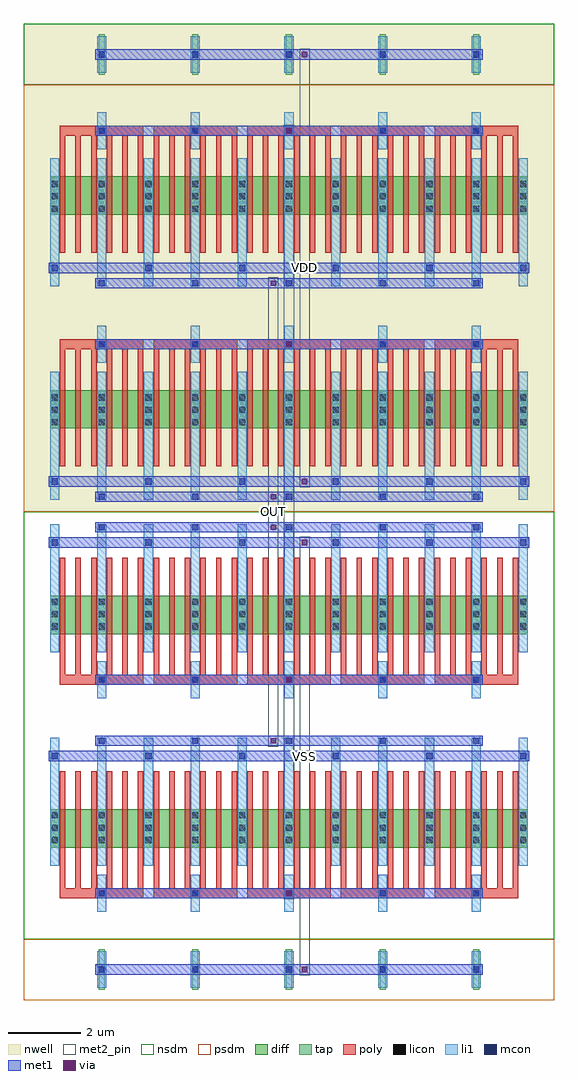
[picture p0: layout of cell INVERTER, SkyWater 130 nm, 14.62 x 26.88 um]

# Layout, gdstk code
import gdstk
lib = gdstk.Library(unit=1e-6, precision=1e-09)
def R(c, l, rs):  # rectangles x0, y0, x1, y1
    for r in rs: c.add(gdstk.rectangle(r[:2], r[2:], *l))
def A(c, l, x, y, w, h, nx, ny, dx, dy):  # array of equal rectangles
    R(c, l, [(x+i*dx, y+j*dy, x+i*dx+w, y+j*dy+h) for i in range(nx) for j in range(ny)])
nwell = (64, 20)
diff = (65, 20)
tap = (65, 44)
poly = (66, 20)
licon = (66, 44)
li1 = (67, 20)
mcon = (67, 44)
met1 = (68, 20)
via = (68, 44)
met2_pin = (69, 16)
nsdm = (93, 44)
psdm = (94, 20)

inverter = lib.new_cell('INVERTER')
R(inverter, nwell, [(0,13.44,14.62,26.88)])
R(inverter, diff, [(0.735,4.2,13.885,5.25), (0.735,10.08,13.885,11.13), (0.735,15.75,13.885,16.8), (0.735,21.63,13.885,22.68)])
A(inverter, tap, 2.065, 0.28, 0.17, 1.12, 5, 2, 2.58, 25.2)
A(inverter, poly, 1, 2.805, 2.3, 0.27, 5, 2, 2.58, 5.88)
A(inverter, poly, 1, 2.94, 0.15, 3.36, 30, 4, 0.43, 5.88)
A(inverter, poly, 1, 17.925, 2.3, 0.27, 5, 2, 2.58, 5.88)
A(inverter, licon, 2.065, 2.855, 0.17, 0.17, 5, 2, 2.58, 5.88)
A(inverter, licon, 0.775, 4.32, 0.17, 0.17, 3, 3, 1.29, 0.34)
A(inverter, licon, 3.355, 4.32, 0.17, 0.17, 3, 3, 1.29, 0.34)
A(inverter, licon, 5.935, 4.32, 0.17, 0.17, 3, 3, 1.29, 0.34)
A(inverter, licon, 8.515, 4.32, 0.17, 0.17, 3, 3, 1.29, 0.34)
A(inverter, licon, 11.095, 4.32, 0.17, 0.17, 3, 3, 1.29, 0.34)
A(inverter, licon, 0.775, 10.2, 0.17, 0.17, 3, 3, 1.29, 0.34)
A(inverter, licon, 3.355, 10.2, 0.17, 0.17, 3, 3, 1.29, 0.34)
A(inverter, licon, 5.935, 10.2, 0.17, 0.17, 3, 3, 1.29, 0.34)
A(inverter, licon, 8.515, 10.2, 0.17, 0.17, 3, 3, 1.29, 0.34)
A(inverter, licon, 11.095, 10.2, 0.17, 0.17, 3, 3, 1.29, 0.34)
A(inverter, licon, 0.775, 15.83, 0.17, 0.17, 3, 3, 1.29, 0.34)
A(inverter, licon, 3.355, 15.83, 0.17, 0.17, 3, 3, 1.29, 0.34)
A(inverter, licon, 5.935, 15.83, 0.17, 0.17, 3, 3, 1.29, 0.34)
A(inverter, licon, 8.515, 15.83, 0.17, 0.17, 3, 3, 1.29, 0.34)
A(inverter, licon, 11.095, 15.83, 0.17, 0.17, 3, 3, 1.29, 0.34)
A(inverter, licon, 2.065, 17.975, 0.17, 0.17, 5, 2, 2.58, 5.88)
A(inverter, licon, 0.775, 21.71, 0.17, 0.17, 3, 3, 1.29, 0.34)
A(inverter, licon, 3.355, 21.71, 0.17, 0.17, 3, 3, 1.29, 0.34)
A(inverter, licon, 5.935, 21.71, 0.17, 0.17, 3, 3, 1.29, 0.34)
A(inverter, licon, 8.515, 21.71, 0.17, 0.17, 3, 3, 1.29, 0.34)
A(inverter, licon, 11.095, 21.71, 0.17, 0.17, 3, 3, 1.29, 0.34)
R(inverter, licon, [(2.065,0.755,2.235,0.925), (2.065,0.755,2.235,0.925), (4.645,0.755,4.815,0.925), (4.645,0.755,4.815,0.925), (7.225,0.755,7.395,0.925), (7.225,0.755,7.395,0.925), (9.805,0.755,9.975,0.925), (9.805,0.755,9.975,0.925), (12.385,0.755,12.555,0.925), (12.385,0.755,12.555,0.925), (2.065,25.955,2.235,26.125), (2.065,25.955,2.235,26.125), (4.645,25.955,4.815,26.125), (4.645,25.955,4.815,26.125), (7.225,25.955,7.395,26.125), (7.225,25.955,7.395,26.125), (9.805,25.955,9.975,26.125), (9.805,25.955,9.975,26.125), (12.385,25.955,12.555,26.125), (12.385,25.955,12.555,26.125)])
A(inverter, li1, 2.025, 0.335, 0.25, 1.01, 5, 2, 2.58, 2.1)
A(inverter, li1, 0.735, 3.695, 0.25, 3.53, 11, 2, 1.29, 5.88)
A(inverter, li1, 2.025, 8.315, 0.25, 1.01, 5, 2, 2.58, 9.24)
A(inverter, li1, 0.735, 13.775, 0.25, 3.53, 11, 2, 1.29, 5.88)
A(inverter, li1, 2.025, 23.435, 0.25, 1.01, 5, 2, 2.58, 2.1)
A(inverter, mcon, 2.065, 0.755, 0.17, 0.17, 5, 2, 2.58, 2.1)
A(inverter, mcon, 0.775, 6.635, 0.17, 0.17, 6, 2, 2.58, 5.88)
A(inverter, mcon, 2.065, 7.055, 0.17, 0.17, 5, 2, 2.58, 1.68)
A(inverter, mcon, 2.065, 12.935, 0.17, 0.17, 5, 2, 2.58, 0.84)
A(inverter, mcon, 0.775, 14.195, 0.17, 0.17, 6, 2, 2.58, 5.88)
A(inverter, mcon, 2.065, 17.975, 0.17, 0.17, 5, 2, 2.58, 1.68)
A(inverter, mcon, 2.065, 23.855, 0.17, 0.17, 5, 2, 2.58, 2.1)
R(inverter, met1, [(1.98,0.7,12.64,0.98), (1.98,2.8,12.64,3.08), (0.69,6.58,13.93,6.86), (1.98,7,12.64,7.28), (1.98,8.68,12.64,8.96), (0.69,12.46,13.93,12.74), (1.98,12.88,12.64,13.16), (1.98,13.72,12.64,14), (0.69,14.14,13.93,14.42), (1.98,17.92,12.64,18.2), (1.98,19.6,12.64,19.88), (0.69,20.02,13.93,20.3), (1.98,23.8,12.64,24.08), (1.98,25.9,12.64,26.18)])
A(inverter, via, 7.665, 0.765, 0.15, 0.15, 1, 3, 0, 5.88)
A(inverter, via, 7.665, 14.205, 0.15, 0.15, 1, 3, 0, 5.88)
R(inverter, via, [(7.235,2.865,7.385,3.015), (6.805,7.065,6.955,7.215), (7.235,8.745,7.385,8.895), (6.805,12.945,6.955,13.095), (6.805,13.785,6.955,13.935), (7.235,17.985,7.385,18.135), (6.805,19.665,6.955,19.815), (7.235,23.865,7.385,24.015)])
R(inverter, met2_pin, [(7.6,0.68,7.88,12.76), (7.17,2.78,7.45,24.1), (6.74,6.98,7.02,19.9), (7.6,14.12,7.88,26.2)])
R(inverter, nsdm, [(0,1.68,14.62,13.44), (0,25.2,14.62,26.88)])
R(inverter, psdm, [(0,0,14.62,1.68), (0,13.44,14.62,25.2)])
inverter.add(gdstk.Label('OUT', (6.88,13.44), layer=69, texttype=5))
inverter.add(gdstk.Label('IN', (7.31,13.44), layer=69, texttype=5))
inverter.add(gdstk.Label('VSS', (7.74,6.72), layer=69, texttype=5))
inverter.add(gdstk.Label('VDD', (7.74,20.16), layer=69, texttype=5))

lib.write_gds('INVERTER.gds')
